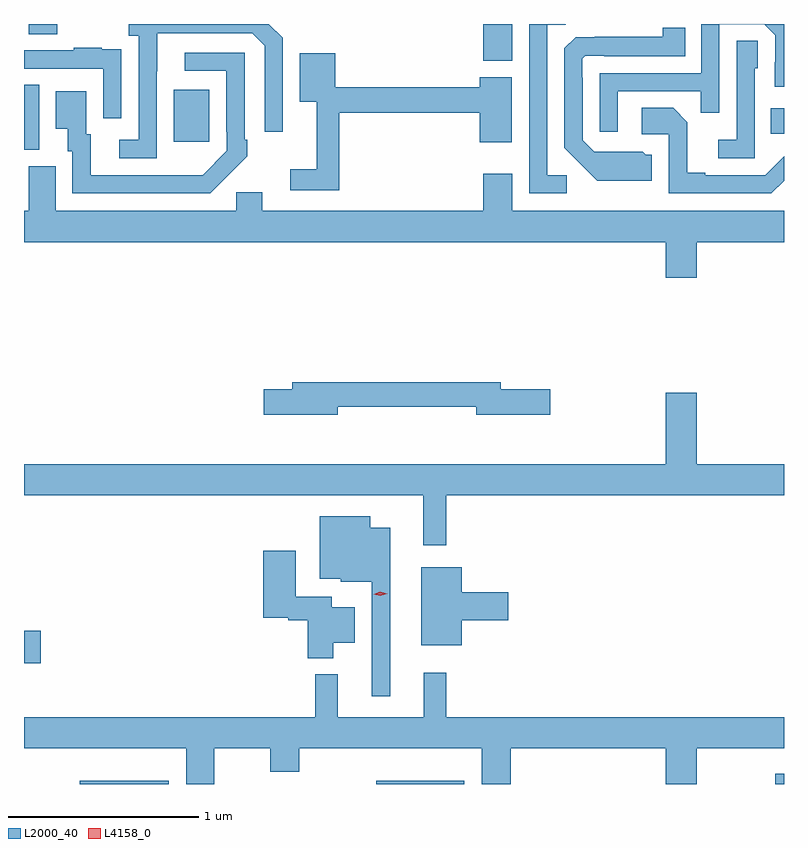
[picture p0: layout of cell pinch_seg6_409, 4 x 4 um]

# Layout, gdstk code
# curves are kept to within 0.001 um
import gdstk
lib = gdstk.Library(unit=1e-6, precision=1e-09)
def R(c, l, rs):  # rectangles x0, y0, x1, y1
    for r in rs: c.add(gdstk.rectangle(r[:2], r[2:], *l))
def P(c, l, *ps):  # polygons
    for p in ps: c.add(gdstk.Polygon(p, *l))
L2000_40 = (2000, 40)
L4158_0 = (4158, 0)

pinch_seg6_409 = lib.new_cell('pinch_seg6_409')
R(pinch_seg6_409, L2000_40, [(689.397,920.508,689.866,920.524), (690.956,920.508,691.42,920.524), (693.056,920.508,693.103,920.563), (689.103,921.143,689.191,921.314), (689.103,923.845,689.182,924.188), (689.891,923.889,690.079,924.163), (693.034,923.93,693.103,924.064), (691.52,924.314,691.672,924.508), (689.129,924.454,689.277,924.508)])
P(pinch_seg6_409, L2000_40, [(691.96,923.712),(691.857,923.712),(691.857,924.505),(691.953,924.505),(691.953,924.508),(691.761,924.508),(691.761,923.616),(691.96,923.616)],
  [(692.229,924.153),(692.665,924.153),(692.665,924.04),(692.763,924.04),(692.763,924.507),(693,924.507),(693.057,924.45),(693.057,924.308),(693.053,924.308),(693.053,924.179),(693.103,924.179),(693.103,924.508),(692.667,924.508),(692.667,924.249),(692.133,924.249),(692.133,923.94),(692.229,923.94)],
  [(689.802,924.259),(689.803,924.459),(690.303,924.459),(690.369,924.393),(690.369,923.94),(690.465,923.94),(690.465,924.435),(690.392,924.508),(689.655,924.508),(689.655,924.446),(689.706,924.446),(689.706,923.898),(689.604,923.898),(689.604,923.802),(689.802,923.802)],
  [(692.407,923.82),(692.376,923.82),(692.36,923.836),(692.103,923.835),(692.043,923.895),(692.043,924.224),(692.04,924.224),(692.04,924.324),(692.058,924.342),(692.158,924.342),(692.158,924.339),(692.582,924.339),(692.582,924.487),(692.464,924.487),(692.464,924.44),(692.006,924.439),(691.947,924.38),(691.947,923.858),(692.119,923.684),(692.407,923.684)],
  [(692.949,924.276),(692.964,924.276),(692.964,924.419),(692.853,924.419),(692.853,923.899),(692.757,923.899),(692.757,923.802),(692.949,923.802)],
  [(689.616,924.266),(689.615,924.266),(689.615,924.375),(689.513,924.375),(689.513,924.382),(689.365,924.382),(689.365,924.369),(689.103,924.369),(689.103,924.273),(689.52,924.273),(689.52,924.012),(689.616,924.012)],
  [(690.173,923.707),(690.174,923.706),(690.279,923.811),(690.279,923.899),(690.264,923.899),(690.264,924.357),(689.949,924.357),(689.949,924.261),(690.168,924.261),(690.168,923.941),(690.171,923.941),(690.171,923.841),(690.043,923.713),(689.455,923.712),(689.455,923.928),(689.431,923.928),(689.431,924.154),(689.27,924.154),(689.27,923.957),(689.333,923.957),(689.333,923.838),(689.358,923.838),(689.358,923.616),(690.082,923.616)],
  [(690.761,924.04),(691.502,924.04),(691.502,923.886),(691.669,923.886),(691.669,924.229),(691.502,924.229),(691.502,924.176),(690.741,924.176),(690.741,924.355),(690.554,924.355),(690.554,924.098),(690.644,924.098),(690.644,923.743),(690.504,923.743),(690.504,923.634),(690.761,923.634)],
  [(693.103,923.683),(693.103,923.812),(693.003,923.712),(692.689,923.712),(692.689,923.725),(692.595,923.725),(692.595,923.992),(692.519,924.068),(692.355,924.068),(692.355,923.928),(692.496,923.928),(692.496,923.616),(693.036,923.616)],
  [(692.644,923.36),(693.103,923.36),(693.103,923.524),(691.672,923.524),(691.672,923.719),(691.52,923.719),(691.52,923.524),(690.358,923.524),(690.358,923.622),(690.219,923.622),(690.219,923.524),(689.269,923.524),(689.269,923.76),(689.129,923.76),(689.129,923.524),(689.103,923.524),(689.103,923.36),(692.48,923.36),(692.48,923.172),(692.644,923.172)],
  [(690.754,922.494),(691.484,922.494),(691.484,922.451),(691.873,922.451),(691.873,922.586),(691.612,922.586),(691.612,922.622),(690.515,922.622),(690.515,922.586),(690.366,922.586),(690.366,922.451),(690.754,922.451)],
  [(691.325,922.028),(693.103,922.028),(693.103,922.192),(692.644,922.192),(692.644,922.567),(692.48,922.567),(692.48,922.192),(689.103,922.192),(689.103,922.028),(691.204,922.028),(691.204,921.765),(691.325,921.765)],
  [(691.03,921.856),(690.925,921.856),(690.925,921.916),(690.659,921.916),(690.659,921.587),(690.771,921.587),(690.771,921.572),(690.933,921.572),(690.933,920.97),(691.03,920.97)],
  [(690.73,921.251),(690.844,921.251),(690.844,921.439),(690.724,921.439),(690.724,921.493),(690.532,921.493),(690.532,921.736),(690.362,921.736),(690.362,921.383),(690.495,921.383),(690.495,921.371),(690.596,921.371),(690.596,921.17),(690.73,921.17)],
  [(691.408,921.371),(691.651,921.371),(691.651,921.518),(691.408,921.518),(691.408,921.649),(691.193,921.649),(691.193,921.239),(691.408,921.239)],
  [(690.105,920.696),(690.4,920.696),(690.4,920.572),(690.551,920.572),(690.551,920.696),(691.511,920.696),(691.511,920.508),(691.664,920.508),(691.664,920.696),(692.48,920.696),(692.48,920.508),(692.644,920.508),(692.644,920.696),(693.103,920.696),(693.103,920.86),(691.325,920.86),(691.325,921.094),(691.208,921.094),(691.208,920.86),(690.755,920.86),(690.755,921.085),(690.637,921.085),(690.637,920.86),(689.103,920.86),(689.103,920.696),(689.957,920.696),(689.957,920.508),(690.105,920.508)])
P(pinch_seg6_409, L4158_0, [(690.979,921.499),(690.944,921.508),(690.943,921.508),(690.944,921.508),(690.978,921.519),(691.014,921.51),(691.014,921.51),(691.014,921.51)])

lib.write_gds('pinch_seg6_409.gds')
